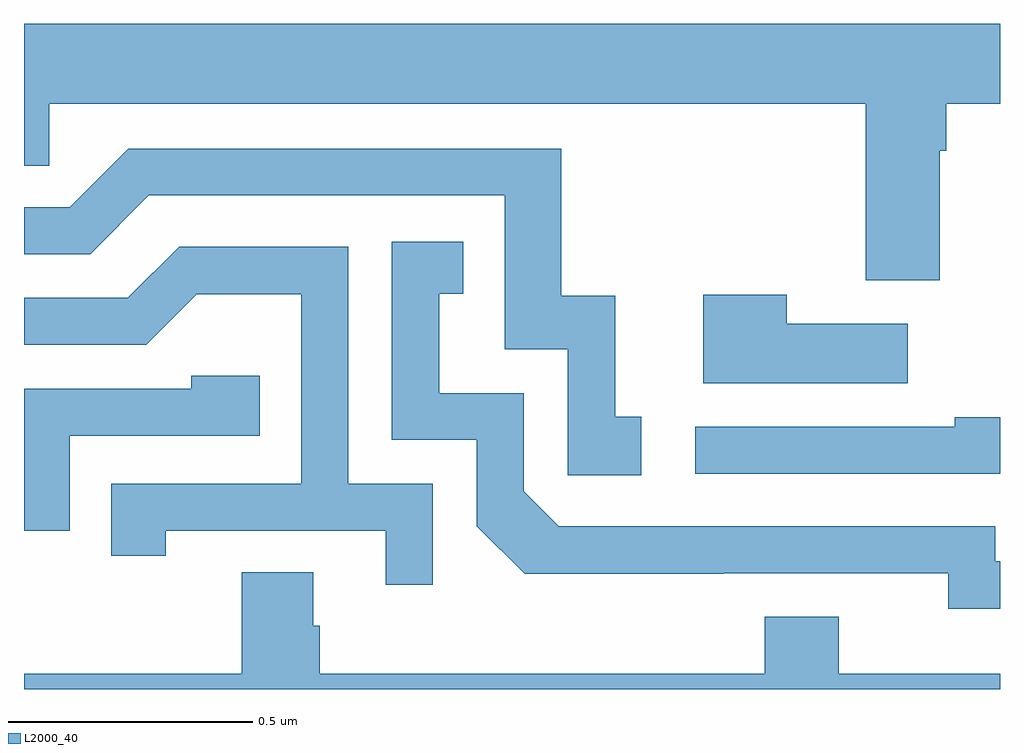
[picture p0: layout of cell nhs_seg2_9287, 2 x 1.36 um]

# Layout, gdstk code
import gdstk
lib = gdstk.Library(unit=1e-6, precision=1e-09)
def P(c, l, *ps):  # polygons
    for p in ps: c.add(gdstk.Polygon(p, *l))
L2000_40 = (2000, 40)

nhs_seg2_9287 = lib.new_cell('nhs_seg2_9287')
P(nhs_seg2_9287, L2000_40, [(228.877,616.904),(228.89,616.904),(228.89,617),(229,617),(229,617.164),(227,617.164),(227,616.873),(227.052,616.873),(227.052,617),(228.725,617),(228.725,616.638),(228.877,616.638)],
  [(228.265,616.359),(228.212,616.359),(228.212,616.606),(228.101,616.606),(228.101,616.908),(227.214,616.908),(227.094,616.788),(227,616.788),(227,616.692),(227.136,616.692),(227.256,616.812),(227.985,616.812),(227.985,616.497),(228.114,616.497),(228.114,616.239),(228.265,616.239)],
  [(229,616.062),(228.99,616.062),(228.99,616.134),(228.096,616.134),(228.024,616.206),(228.024,616.407),(227.851,616.407),(227.851,616.611),(227.9,616.611),(227.9,616.717),(227.754,616.717),(227.754,616.311),(227.928,616.311),(227.928,616.134),(228.026,616.037),(228.434,616.037),(228.434,616.038),(228.894,616.038),(228.894,615.965),(229,615.965)],
  [(227.838,616.221),(227.664,616.221),(227.664,616.707),(227.318,616.707),(227.213,616.602),(227,616.602),(227,616.506),(227.25,616.506),(227.354,616.61),(227.568,616.61),(227.568,616.221),(227.179,616.221),(227.179,616.074),(227.29,616.074),(227.29,616.125),(227.741,616.125),(227.741,616.014),(227.838,616.014)],
  [(228.811,616.549),(228.563,616.549),(228.563,616.609),(228.392,616.609),(228.392,616.427),(228.811,616.427)],
  [(227.094,616.32),(227.483,616.32),(227.483,616.443),(227.343,616.443),(227.343,616.416),(227,616.416),(227,616.125),(227.094,616.125)],
  [(229,616.358),(228.907,616.358),(228.907,616.338),(228.375,616.338),(228.375,616.242),(229,616.242)],
  [(229,615.832),(228.67,615.832),(228.67,615.949),(228.518,615.949),(228.518,615.832),(227.606,615.832),(227.606,615.93),(227.593,615.93),(227.593,616.04),(227.446,616.04),(227.446,615.832),(227,615.832),(227,615.8),(229,615.8)])

lib.write_gds('nhs_seg2_9287.gds')
